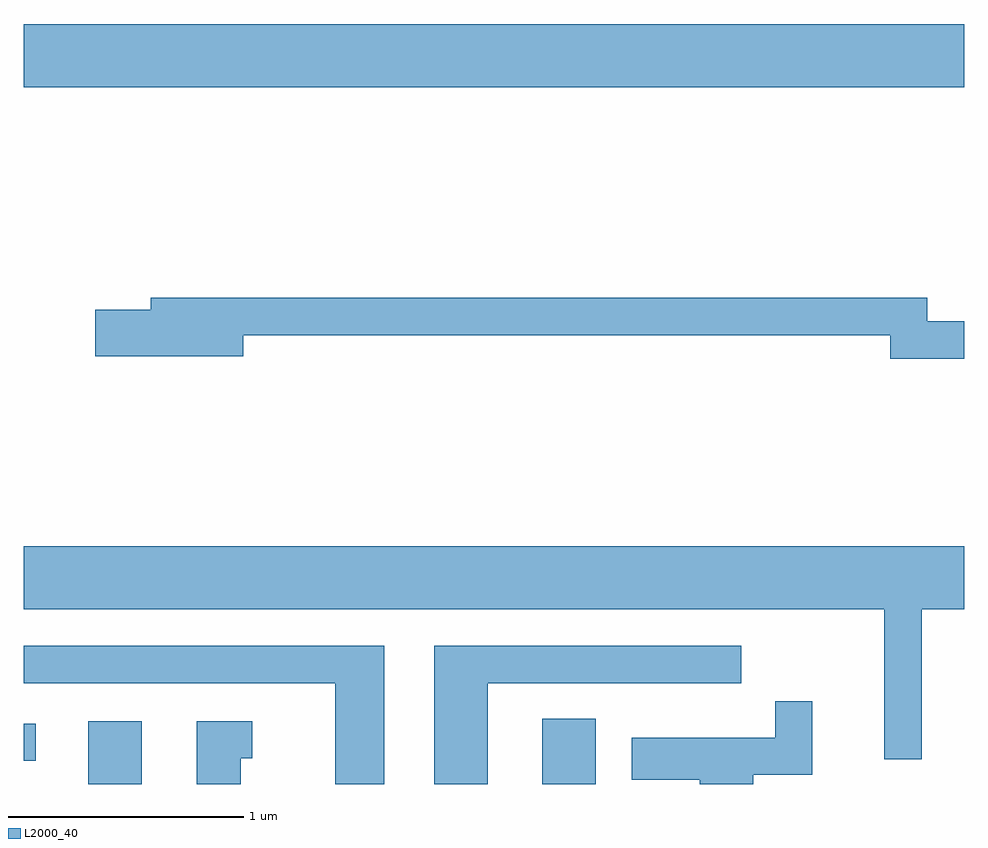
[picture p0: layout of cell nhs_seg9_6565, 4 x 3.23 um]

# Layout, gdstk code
import gdstk
lib = gdstk.Library(unit=1e-6, precision=1e-09)
def R(c, l, rs):  # rectangles x0, y0, x1, y1
    for r in rs: c.add(gdstk.rectangle(r[:2], r[2:], *l))
def P(c, l, *ps):  # polygons
    for p in ps: c.add(gdstk.Polygon(p, *l))
L2000_40 = (2000, 40)

nhs_seg9_6565 = lib.new_cell('nhs_seg9_6565')
R(nhs_seg9_6565, L2000_40, [(379.886,1964.432,380.114,1964.699), (381.816,1964.432,382.044,1964.709), (379.611,1964.531,379.663,1964.689), (379.611,1967.396,383.611,1967.664)])
P(nhs_seg9_6565, L2000_40, [(383.611,1966.399),(383.454,1966.399),(383.454,1966.499),(380.151,1966.499),(380.151,1966.449),(379.916,1966.449),(379.916,1966.251),(380.544,1966.251),(380.544,1966.341),(383.296,1966.341),(383.296,1966.241),(383.611,1966.241)],
  [(383.429,1965.176),(383.611,1965.176),(383.611,1965.444),(379.611,1965.444),(379.611,1965.176),(383.271,1965.176),(383.271,1964.538),(383.429,1964.538)],
  [(381.144,1965.019),(379.611,1965.019),(379.611,1964.861),(380.936,1964.861),(380.936,1964.432),(381.144,1964.432)],
  [(381.584,1964.861),(382.663,1964.861),(382.663,1965.019),(381.356,1965.019),(381.356,1964.432),(381.584,1964.432)],
  [(382.714,1964.471),(382.964,1964.471),(382.964,1964.783),(382.806,1964.783),(382.806,1964.629),(382.196,1964.629),(382.196,1964.451),(382.486,1964.451),(382.486,1964.432),(382.714,1964.432)],
  [(380.534,1964.541),(380.583,1964.541),(380.583,1964.699),(380.346,1964.699),(380.346,1964.432),(380.534,1964.432)])

lib.write_gds('nhs_seg9_6565.gds')
